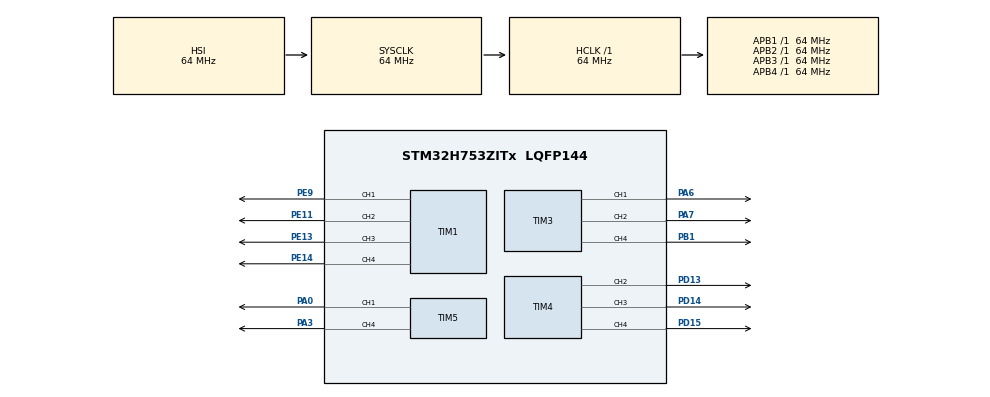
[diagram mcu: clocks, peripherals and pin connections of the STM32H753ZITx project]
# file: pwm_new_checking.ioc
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CORTEX_M7.CPU_DCache=Disabled
CORTEX_M7.CPU_ICache=Disabled
CORTEX_M7.MPU_Control=__NULL
CORTEX_M7.default_mode_Activation=1
Mcu.Family=STM32H7
Mcu.Name=STM32H753ZITx
Mcu.Package=LQFP144
NVIC.PriorityGroup=NVIC_PRIORITYGROUP_4
PA0.Signal=S_TIM5_CH1
PA3.Signal=S_TIM5_CH4
PA6.Signal=S_TIM3_CH1
PA7.Signal=S_TIM3_CH2
PB1.Signal=S_TIM3_CH4
PD13.Signal=S_TIM4_CH2
PD14.Signal=S_TIM4_CH3
PD15.Signal=S_TIM4_CH4
PE11.Signal=S_TIM1_CH2
PE13.Signal=S_TIM1_CH3
PE14.Signal=S_TIM1_CH4
PE9.Signal=S_TIM1_CH1
ProjectManager.HeapSize=0x200
ProjectManager.StackSize=0x400
ProjectManager.TargetToolchain=STM32CubeIDE
RCC.ADCFreq_Value=129000000
RCC.APB1Freq_Value=64000000
RCC.APB2Freq_Value=64000000
RCC.APB3Freq_Value=64000000
RCC.APB4Freq_Value=64000000
RCC.CortexFreq_Value=64000000
RCC.DIVM1=1
RCC.DIVN1=24
RCC.DIVQ1=4
RCC.HCLKFreq_Value=64000000
RCC.HSE_VALUE=8000000
RCC.PLLFRACN=0
RCC.PWR_Regulator_Voltage_Scale=PWR_REGULATOR_VOLTAGE_SCALE2
RCC.SYSCLKFreq_VALUE=64000000
RCC.USBFreq_Value=384000000
SH.S_TIM1_CH1.0=TIM1_CH1,PWM Generation1 CH1
SH.S_TIM1_CH2.0=TIM1_CH2,PWM Generation2 CH2
SH.S_TIM1_CH3.0=TIM1_CH3,PWM Generation3 CH3
SH.S_TIM1_CH4.0=TIM1_CH4,PWM Generation4 CH4
SH.S_TIM3_CH1.0=TIM3_CH1,PWM Generation1 CH1
SH.S_TIM3_CH2.0=TIM3_CH2,PWM Generation2 CH2
SH.S_TIM3_CH4.0=TIM3_CH4,PWM Generation4 CH4
SH.S_TIM4_CH2.0=TIM4_CH2,PWM Generation2 CH2
SH.S_TIM4_CH3.0=TIM4_CH3,PWM Generation3 CH3
SH.S_TIM4_CH4.0=TIM4_CH4,PWM Generation4 CH4
SH.S_TIM5_CH1.0=TIM5_CH1,PWM Generation1 CH1
SH.S_TIM5_CH4.0=TIM5_CH4,PWM Generation4 CH4
TIM1.Channel-PWM\ Generation1\ CH1=TIM_CHANNEL_1
TIM1.Channel-PWM\ Generation2\ CH2=TIM_CHANNEL_2
TIM1.Channel-PWM\ Generation3\ CH3=TIM_CHANNEL_3
TIM1.Channel-PWM\ Generation4\ CH4=TIM_CHANNEL_4
TIM3.Channel-PWM\ Generation1\ CH1=TIM_CHANNEL_1
TIM3.Channel-PWM\ Generation2\ CH2=TIM_CHANNEL_2
TIM3.Channel-PWM\ Generation4\ CH4=TIM_CHANNEL_4
TIM4.Channel-PWM\ Generation2\ CH2=TIM_CHANNEL_2
TIM4.Channel-PWM\ Generation3\ CH3=TIM_CHANNEL_3
TIM4.Channel-PWM\ Generation4\ CH4=TIM_CHANNEL_4
TIM5.Channel-PWM\ Generation1\ CH1=TIM_CHANNEL_1
TIM5.Channel-PWM\ Generation4\ CH4=TIM_CHANNEL_4
VP_MEMORYMAP_VS_MEMORYMAP.Mode=CurAppReg
VP_TIM1_VS_ClockSourceINT.Mode=Internal
VP_TIM3_VS_ClockSourceINT.Mode=Internal
VP_TIM4_VS_ClockSourceINT.Mode=Internal
VP_TIM5_VS_ClockSourceINT.Mode=Internal
board=NUCLEO-H753ZI

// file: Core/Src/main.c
/* USER CODE BEGIN Header */
/**
  ******************************************************************************
  * @file           : main.c
  * @brief          : Main program body
  ******************************************************************************
  * @attention
  *
  * Copyright (c) 2026 STMicroelectronics.
  * All rights reserved.
  *
  * This software is licensed under terms that can be found in the LICENSE file
  * in the root directory of this software component.
  * If no LICENSE file comes with this software, it is provided AS-IS.
  *
  ******************************************************************************
  */
/* USER CODE END Header */
#include "main.h"

TIM_HandleTypeDef htim1;
TIM_HandleTypeDef htim3;
TIM_HandleTypeDef htim4;
TIM_HandleTypeDef htim5;

void SystemClock_Config(void);
static void MX_GPIO_Init(void);
static void MX_TIM1_Init(void);
static void MX_TIM3_Init(void);
static void MX_TIM4_Init(void);
static void MX_TIM5_Init(void);
/* USER CODE BEGIN PFP */
void Set_All_PWM(uint32_t value);
/* USER CODE END PFP */

/* USER CODE BEGIN 0 */

void Set_All_PWM(uint32_t value)
{
  /* TIM1: CH1 CH2 CH3 CH4 */
  __HAL_TIM_SET_COMPARE(&htim1, TIM_CHANNEL_1, value);
  __HAL_TIM_SET_COMPARE(&htim1, TIM_CHANNEL_2, value);
  __HAL_TIM_SET_COMPARE(&htim1, TIM_CHANNEL_3, value);
  __HAL_TIM_SET_COMPARE(&htim1, TIM_CHANNEL_4, value);

  /* TIM3: CH1 CH2 CH4 */
  __HAL_TIM_SET_COMPARE(&htim3, TIM_CHANNEL_1, value);
  __HAL_TIM_SET_COMPARE(&htim3, TIM_CHANNEL_2, value);
  __HAL_TIM_SET_COMPARE(&htim3, TIM_CHANNEL_4, value);

  /* TIM4: CH2 CH3 CH4 */
  __HAL_TIM_SET_COMPARE(&htim4, TIM_CHANNEL_2, value);
  __HAL_TIM_SET_COMPARE(&htim4, TIM_CHANNEL_3, value);
  __HAL_TIM_SET_COMPARE(&htim4, TIM_CHANNEL_4, value);

  /* TIM5: CH1 CH4 */
  __HAL_TIM_SET_COMPARE(&htim5, TIM_CHANNEL_1, value);
  __HAL_TIM_SET_COMPARE(&htim5, TIM_CHANNEL_4, value);
}

/* USER CODE END 0 */

int main(void)
{

  /* MCU Configuration--------------------------------------------------------*/

  /* Reset of all peripherals, Initializes the Flash interface and the Systick. */
  HAL_Init();

  /* Configure the system clock */
  SystemClock_Config();

  /* Initialize all configured peripherals */
  MX_GPIO_Init();
  MX_TIM1_Init();
  MX_TIM3_Init();
  MX_TIM4_Init();
  MX_TIM5_Init();
  /* USER CODE BEGIN 2 */

  HAL_TIM_PWM_Start(&htim1, TIM_CHANNEL_1);
  HAL_TIM_PWM_Start(&htim1, TIM_CHANNEL_2);
  HAL_TIM_PWM_Start(&htim1, TIM_CHANNEL_3);
  HAL_TIM_PWM_Start(&htim1, TIM_CHANNEL_4);

  HAL_TIM_PWM_Start(&htim3, TIM_CHANNEL_1);
  HAL_TIM_PWM_Start(&htim3, TIM_CHANNEL_2);
  HAL_TIM_PWM_Start(&htim3, TIM_CHANNEL_4);

  HAL_TIM_PWM_Start(&htim4, TIM_CHANNEL_2);
  HAL_TIM_PWM_Start(&htim4, TIM_CHANNEL_3);
  HAL_TIM_PWM_Start(&htim4, TIM_CHANNEL_4);

  HAL_TIM_PWM_Start(&htim5, TIM_CHANNEL_1);
  HAL_TIM_PWM_Start(&htim5, TIM_CHANNEL_4);

  Set_All_PWM(0);

  /* USER CODE END 2 */

  /* Infinite loop */
  while (1)
  {

  }
}

void SystemClock_Config(void)
{
  RCC_OscInitTypeDef RCC_OscInitStruct = {0};
  RCC_ClkInitTypeDef RCC_ClkInitStruct = {0};

  /** Supply configuration update enable
  */
  HAL_PWREx_ConfigSupply(PWR_LDO_SUPPLY);

  /** Configure the main internal regulator output voltage
  */
  __HAL_PWR_VOLTAGESCALING_CONFIG(PWR_REGULATOR_VOLTAGE_SCALE2);

  while(!__HAL_PWR_GET_FLAG(PWR_FLAG_VOSRDY)) {}

  /** Initializes the RCC Oscillators according to the specified parameters
  * in the RCC_OscInitTypeDef structure.
  */
  RCC_OscInitStruct.OscillatorType = RCC_OSCILLATORTYPE_HSI;
  RCC_OscInitStruct.HSIState = RCC_HSI_DIV1;
  RCC_OscInitStruct.HSICalibrationValue = RCC_HSICALIBRATION_DEFAULT;
  RCC_OscInitStruct.PLL.PLLState = RCC_PLL_NONE;
  if (HAL_RCC_OscConfig(&RCC_OscInitStruct) != HAL_OK)
  {
    Error_Handler();
  }

  /** Initializes the CPU, AHB and APB buses clocks
  */
  RCC_ClkInitStruct.ClockType = RCC_CLOCKTYPE_HCLK|RCC_CLOCKTYPE_SYSCLK
                              |RCC_CLOCKTYPE_PCLK1|RCC_CLOCKTYPE_PCLK2
                              |RCC_CLOCKTYPE_D3PCLK1|RCC_CLOCKTYPE_D1PCLK1;
  RCC_ClkInitStruct.SYSCLKSource = RCC_SYSCLKSOURCE_HSI;
  RCC_ClkInitStruct.SYSCLKDivider = RCC_SYSCLK_DIV1;
  RCC_ClkInitStruct.AHBCLKDivider = RCC_HCLK_DIV1;
  RCC_ClkInitStruct.APB3CLKDivider = RCC_APB3_DIV1;
  RCC_ClkInitStruct.APB1CLKDivider = RCC_APB1_DIV1;
  RCC_ClkInitStruct.APB2CLKDivider = RCC_APB2_DIV1;
  RCC_ClkInitStruct.APB4CLKDivider = RCC_APB4_DIV1;

  if (HAL_RCC_ClockConfig(&RCC_ClkInitStruct, FLASH_LATENCY_1) != HAL_OK)
  {
    Error_Handler();
  }
}

static void MX_TIM1_Init(void)
{

  TIM_ClockConfigTypeDef sClockSourceConfig = {0};
  TIM_MasterConfigTypeDef sMasterConfig = {0};
  TIM_OC_InitTypeDef sConfigOC = {0};
  TIM_BreakDeadTimeConfigTypeDef sBreakDeadTimeConfig = {0};

  htim1.Instance = TIM1;
  htim1.Init.Prescaler = 0;
  htim1.Init.CounterMode = TIM_COUNTERMODE_UP;
  htim1.Init.Period = 65535;
  htim1.Init.ClockDivision = TIM_CLOCKDIVISION_DIV1;
  htim1.Init.RepetitionCounter = 0;
  htim1.Init.AutoReloadPreload = TIM_AUTORELOAD_PRELOAD_DISABLE;
  if (HAL_TIM_Base_Init(&htim1) != HAL_OK)
  {
    Error_Handler();
  }
  sClockSourceConfig.ClockSource = TIM_CLOCKSOURCE_INTERNAL;
  if (HAL_TIM_ConfigClockSource(&htim1, &sClockSourceConfig) != HAL_OK)
  {
    Error_Handler();
  }
  if (HAL_TIM_PWM_Init(&htim1) != HAL_OK)
  {
    Error_Handler();
  }
  sMasterConfig.MasterOutputTrigger = TIM_TRGO_RESET;
  sMasterConfig.MasterOutputTrigger2 = TIM_TRGO2_RESET;
  sMasterConfig.MasterSlaveMode = TIM_MASTERSLAVEMODE_DISABLE;
  if (HAL_TIMEx_MasterConfigSynchronization(&htim1, &sMasterConfig) != HAL_OK)
  {
    Error_Handler();
  }
  sConfigOC.OCMode = TIM_OCMODE_PWM1;
  sConfigOC.Pulse = 0;
  sConfigOC.OCPolarity = TIM_OCPOLARITY_HIGH;
  sConfigOC.OCNPolarity = TIM_OCNPOLARITY_HIGH;
  sConfigOC.OCFastMode = TIM_OCFAST_DISABLE;
  sConfigOC.OCIdleState = TIM_OCIDLESTATE_RESET;
  sConfigOC.OCNIdleState = TIM_OCNIDLESTATE_RESET;
  if (HAL_TIM_PWM_ConfigChannel(&htim1, &sConfigOC, TIM_CHANNEL_1) != HAL_OK)
  {
    Error_Handler();
  }
  if (HAL_TIM_PWM_ConfigChannel(&htim1, &sConfigOC, TIM_CHANNEL_2) != HAL_OK)
  {
    Error_Handler();
  }
  if (HAL_TIM_PWM_ConfigChannel(&htim1, &sConfigOC, TIM_CHANNEL_3) != HAL_OK)
  {
    Error_Handler();
  }
  if (HAL_TIM_PWM_ConfigChannel(&htim1, &sConfigOC, TIM_CHANNEL_4) != HAL_OK)
  {
    Error_Handler();
  }
  sBreakDeadTimeConfig.OffStateRunMode = TIM_OSSR_DISABLE;
  sBreakDeadTimeConfig.OffStateIDLEMode = TIM_OSSI_DISABLE;
  sBreakDeadTimeConfig.LockLevel = TIM_LOCKLEVEL_OFF;
  sBreakDeadTimeConfig.DeadTime = 0;
  sBreakDeadTimeConfig.BreakState = TIM_BREAK_DISABLE;
  sBreakDeadTimeConfig.BreakPolarity = TIM_BREAKPOLARITY_HIGH;
  sBreakDeadTimeConfig.BreakFilter = 0;
  sBreakDeadTimeConfig.Break2State = TIM_BREAK2_DISABLE;
  sBreakDeadTimeConfig.Break2Polarity = TIM_BREAK2POLARITY_HIGH;
  sBreakDeadTimeConfig.Break2Filter = 0;
  sBreakDeadTimeConfig.AutomaticOutput = TIM_AUTOMATICOUTPUT_DISABLE;
  if (HAL_TIMEx_ConfigBreakDeadTime(&htim1, &sBreakDeadTimeConfig) != HAL_OK)
  {
    Error_Handler();
  }
  HAL_TIM_MspPostInit(&htim1);

}

static void MX_TIM3_Init(void)
{

  TIM_ClockConfigTypeDef sClockSourceConfig = {0};
  TIM_MasterConfigTypeDef sMasterConfig = {0};
  TIM_OC_InitTypeDef sConfigOC = {0};

  htim3.Instance = TIM3;
  htim3.Init.Prescaler = 0;
  htim3.Init.CounterMode = TIM_COUNTERMODE_UP;
  htim3.Init.Period = 65535;
  htim3.Init.ClockDivision = TIM_CLOCKDIVISION_DIV1;
  htim3.Init.AutoReloadPreload = TIM_AUTORELOAD_PRELOAD_DISABLE;
  if (HAL_TIM_Base_Init(&htim3) != HAL_OK)
  {
    Error_Handler();
  }
  sClockSourceConfig.ClockSource = TIM_CLOCKSOURCE_INTERNAL;
  if (HAL_TIM_ConfigClockSource(&htim3, &sClockSourceConfig) != HAL_OK)
  {
    Error_Handler();
  }
  if (HAL_TIM_PWM_Init(&htim3) != HAL_OK)
  {
    Error_Handler();
  }
  sMasterConfig.MasterOutputTrigger = TIM_TRGO_RESET;
  sMasterConfig.MasterSlaveMode = TIM_MASTERSLAVEMODE_DISABLE;
  if (HAL_TIMEx_MasterConfigSynchronization(&htim3, &sMasterConfig) != HAL_OK)
  {
    Error_Handler();
  }
  sConfigOC.OCMode = TIM_OCMODE_PWM1;
  sConfigOC.Pulse = 0;
  sConfigOC.OCPolarity = TIM_OCPOLARITY_HIGH;
  sConfigOC.OCFastMode = TIM_OCFAST_DISABLE;
  if (HAL_TIM_PWM_ConfigChannel(&htim3, &sConfigOC, TIM_CHANNEL_1) != HAL_OK)
  {
    Error_Handler();
  }
  if (HAL_TIM_PWM_ConfigChannel(&htim3, &sConfigOC, TIM_CHANNEL_2) != HAL_OK)
  {
    Error_Handler();
  }
  if (HAL_TIM_PWM_ConfigChannel(&htim3, &sConfigOC, TIM_CHANNEL_4) != HAL_OK)
  {
    Error_Handler();
  }
  HAL_TIM_MspPostInit(&htim3);

}

static void MX_TIM4_Init(void)
{

  TIM_ClockConfigTypeDef sClockSourceConfig = {0};
  TIM_MasterConfigTypeDef sMasterConfig = {0};
  TIM_OC_InitTypeDef sConfigOC = {0};

  htim4.Instance = TIM4;
  htim4.Init.Prescaler = 0;
  htim4.Init.CounterMode = TIM_COUNTERMODE_UP;
  htim4.Init.Period = 65535;
  htim4.Init.ClockDivision = TIM_CLOCKDIVISION_DIV1;
  htim4.Init.AutoReloadPreload = TIM_AUTORELOAD_PRELOAD_DISABLE;
  if (HAL_TIM_Base_Init(&htim4) != HAL_OK)
  {
    Error_Handler();
  }
  sClockSourceConfig.ClockSource = TIM_CLOCKSOURCE_INTERNAL;
  if (HAL_TIM_ConfigClockSource(&htim4, &sClockSourceConfig) != HAL_OK)
  {
    Error_Handler();
  }
  if (HAL_TIM_PWM_Init(&htim4) != HAL_OK)
  {
    Error_Handler();
  }
  sMasterConfig.MasterOutputTrigger = TIM_TRGO_RESET;
  sMasterConfig.MasterSlaveMode = TIM_MASTERSLAVEMODE_DISABLE;
  if (HAL_TIMEx_MasterConfigSynchronization(&htim4, &sMasterConfig) != HAL_OK)
  {
    Error_Handler();
  }
  sConfigOC.OCMode = TIM_OCMODE_PWM1;
  sConfigOC.Pulse = 0;
  sConfigOC.OCPolarity = TIM_OCPOLARITY_HIGH;
  sConfigOC.OCFastMode = TIM_OCFAST_DISABLE;
  if (HAL_TIM_PWM_ConfigChannel(&htim4, &sConfigOC, TIM_CHANNEL_2) != HAL_OK)
  {
    Error_Handler();
  }
  if (HAL_TIM_PWM_ConfigChannel(&htim4, &sConfigOC, TIM_CHANNEL_3) != HAL_OK)
  {
    Error_Handler();
  }
  if (HAL_TIM_PWM_ConfigChannel(&htim4, &sConfigOC, TIM_CHANNEL_4) != HAL_OK)
  {
    Error_Handler();
  }
  HAL_TIM_MspPostInit(&htim4);

}

static void MX_TIM5_Init(void)
{

  TIM_ClockConfigTypeDef sClockSourceConfig = {0};
  TIM_MasterConfigTypeDef sMasterConfig = {0};
  TIM_OC_InitTypeDef sConfigOC = {0};

  htim5.Instance = TIM5;
  htim5.Init.Prescaler = 0;
  htim5.Init.CounterMode = TIM_COUNTERMODE_UP;
  htim5.Init.Period = 4294967295;
  htim5.Init.ClockDivision = TIM_CLOCKDIVISION_DIV1;
  htim5.Init.AutoReloadPreload = TIM_AUTORELOAD_PRELOAD_DISABLE;
  if (HAL_TIM_Base_Init(&htim5) != HAL_OK)
  {
    Error_Handler();
  }
  sClockSourceConfig.ClockSource = TIM_CLOCKSOURCE_INTERNAL;
  if (HAL_TIM_ConfigClockSource(&htim5, &sClockSourceConfig) != HAL_OK)
  {
    Error_Handler();
  }
  if (HAL_TIM_PWM_Init(&htim5) != HAL_OK)
  {
    Error_Handler();
  }
  sMasterConfig.MasterOutputTrigger = TIM_TRGO_RESET;
  sMasterConfig.MasterSlaveMode = TIM_MASTERSLAVEMODE_DISABLE;
  if (HAL_TIMEx_MasterConfigSynchronization(&htim5, &sMasterConfig) != HAL_OK)
  {
    Error_Handler();
  }
  sConfigOC.OCMode = TIM_OCMODE_PWM1;
  sConfigOC.Pulse = 0;
  sConfigOC.OCPolarity = TIM_OCPOLARITY_HIGH;
  sConfigOC.OCFastMode = TIM_OCFAST_DISABLE;
  if (HAL_TIM_PWM_ConfigChannel(&htim5, &sConfigOC, TIM_CHANNEL_1) != HAL_OK)
  {
    Error_Handler();
  }
  if (HAL_TIM_PWM_ConfigChannel(&htim5, &sConfigOC, TIM_CHANNEL_4) != HAL_OK)
  {
    Error_Handler();
  }
  HAL_TIM_MspPostInit(&htim5);

}

static void MX_GPIO_Init(void)
{

  /* GPIO Ports Clock Enable */
  __HAL_RCC_GPIOA_CLK_ENABLE();
  __HAL_RCC_GPIOB_CLK_ENABLE();
  __HAL_RCC_GPIOE_CLK_ENABLE();
  __HAL_RCC_GPIOD_CLK_ENABLE();

}

void Error_Handler(void)
{
  __disable_irq();
  while (1)
  {
  }
}
